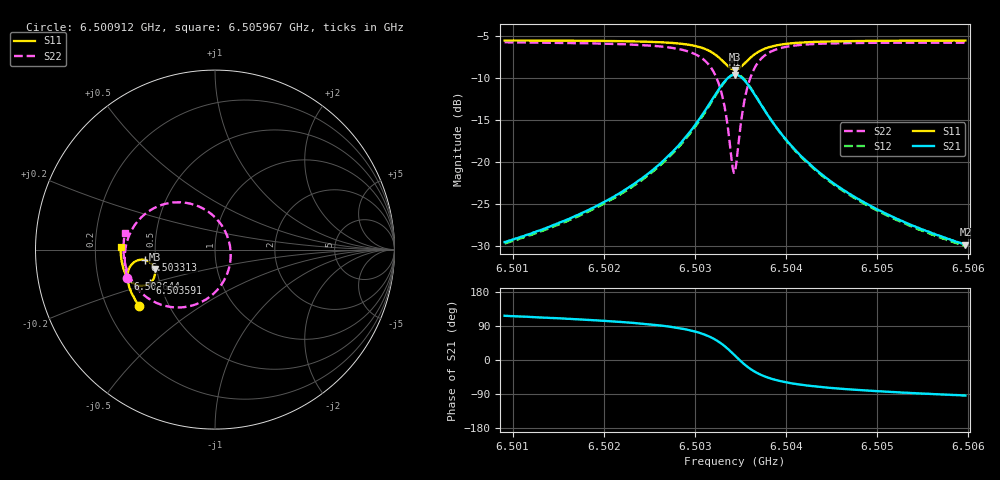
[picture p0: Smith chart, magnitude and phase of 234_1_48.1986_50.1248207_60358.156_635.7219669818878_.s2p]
#  HZ  S  RI  R  50.00
! Rohde & Schwarz Vector Network Analyzer
! Rohde-Schwarz,ZNB20-2Port,1311601062101988,3.16
! Created: UTC 3/20/2024, 11:46:34 AM
! freq[Hz]  re:S11  im:S11  re:S21  im:S21  re:S12  im:S12  re:S22  im:S22
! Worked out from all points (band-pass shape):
!   401 points, 6.500912 GHz to 6.505967 GHz, reference 50 ohm
!   highest |S21| = -9.63 dB at 6.50344 GHz (marker M1); lowest = -29.8 dB at 6.505967 GHz (marker M2)
!   |S21| within 3 dB of the highest: 6.503187 GHz to 6.503692 GHz (505.5 kHz wide, 0.00777 % of centre)
!   lowest |S11| = -9.0 dB at 6.50344 GHz (marker M3), VSWR 2.09, Z = 24.3 - j5.97 ohm
!   |S11| at or under -10 dB: nowhere
!   |S22| runs from -21.3 to -5.8 dB; largest |S21 - S12| = 0.012
!   S11 on the Smith chart (normalised r, x): 6.500912 GHz: 0.34, -0.29; 6.502644 GHz: 0.33, -0.14; 6.503313 GHz: 0.44, -0.06; 6.503591 GHz: 0.44, -0.20; 6.505967 GHz: 0.31, +0.01
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6.5009124e9  -0.4246 -0.3115  -0.015 0.0298  -0.0132 0.03  -0.4889 -0.1574
6.5017591e9  -0.4613 -0.2493  -0.0142 0.0475  -0.0119 0.0472  -0.5029 -0.0679
6.5021888e9  -0.4766 -0.2117  -0.0118 0.0649  -0.00893 0.0639  -0.5008 -0.00798
6.5026058e9  -0.4868 -0.1664  -0.00242 0.0962  0.00109 0.0939  -0.4807 0.0734
6.5026437e9  -0.4873 -0.1614  -0.000656 0.1004  0.00299 0.098  -0.4768 0.0828
6.5029217e9  -0.4834 -0.1184  0.0261 0.1428  0.0298 0.1384  -0.4213 0.1688
6.5031113e9  -0.4621 -0.0803  0.0803 0.185  0.0826 0.1789  -0.3176 0.2413
6.503225e9  -0.4295 -0.0597  0.1494 0.2024  0.1503 0.1962  -0.1928 0.2636
6.5033135e9  -0.3891 -0.0581  0.2291 0.1861  0.2295 0.181  -0.0553 0.2225
6.5033514e9  -0.3697 -0.0657  0.2655 0.1627  0.2664 0.1581  0.00489 0.1751
6.5034146e9  -0.3431 -0.0926  0.3131 0.0985  0.3156 0.0935  0.0764 0.0512
6.5034398e9  -0.3367 -0.1073  0.3231 0.0661  0.3262 0.0602  0.087 -0.00916
6.5034651e9  -0.3337 -0.123  0.3266 0.0322  0.3301 0.0253  0.0846 -0.0709
6.5035283e9  -0.3411 -0.1603  0.3081 -0.0458  0.31 -0.0556  0.028 -0.2061
6.5035915e9  -0.3625 -0.1861  0.2648 -0.0997  0.2636 -0.1108  -0.0692 -0.2886
6.5036926e9  -0.4021 -0.2012  0.1899 -0.1356  0.1845 -0.145  -0.2197 -0.322
6.5038569e9  -0.4482 -0.1916  0.1082 -0.1321  0.1013 -0.1372  -0.3667 -0.2749
6.5040338e9  -0.4755 -0.1701  0.0638 -0.1121  0.0576 -0.1142  -0.4387 -0.2098
6.5042865e9  -0.4963 -0.1401  0.0337 -0.0877  0.0291 -0.0883  -0.4819 -0.1376
6.504653e9  -0.5114 -0.102  0.0152 -0.0652  0.012 -0.0646  -0.5038 -0.0649
6.5051332e9  -0.5212 -0.0576  0.00497 -0.048  0.00269 -0.0473  -0.5103 0.00311
6.5059673e9  -0.526 0.013  -0.00213 -0.0322  -0.00341 -0.0314  -0.5022 0.0911
